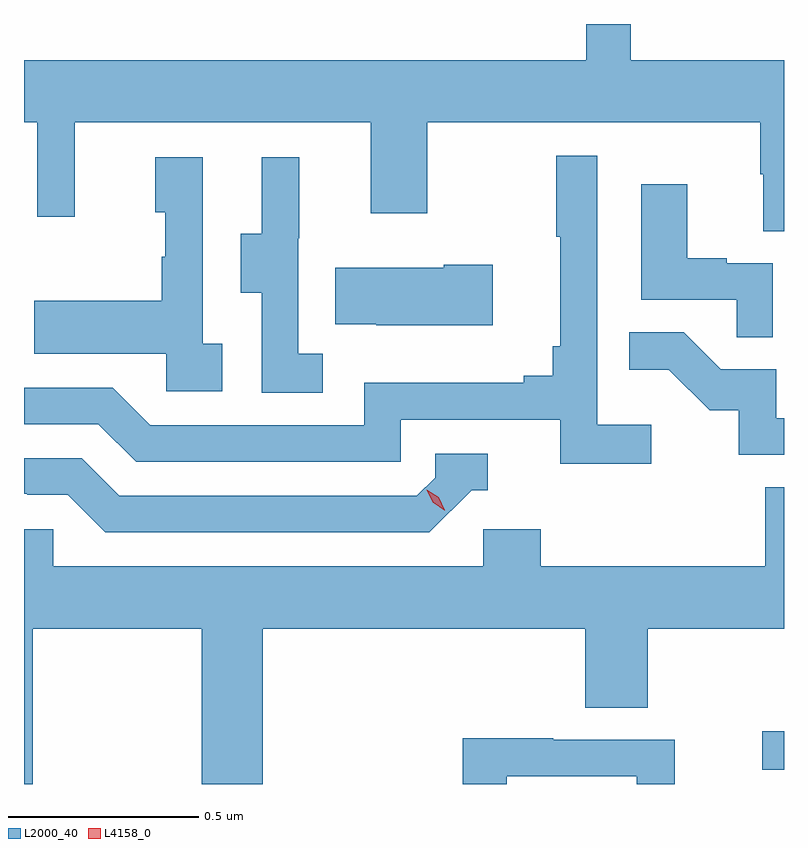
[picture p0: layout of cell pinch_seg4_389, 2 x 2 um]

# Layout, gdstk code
import gdstk
lib = gdstk.Library(unit=1e-6, precision=1e-09)
def R(c, l, rs):  # rectangles x0, y0, x1, y1
    for r in rs: c.add(gdstk.rectangle(r[:2], r[2:], *l))
def P(c, l, *ps):  # polygons
    for p in ps: c.add(gdstk.Polygon(p, *l))
L2000_40 = (2000, 40)
L4158_0 = (4158, 0)

pinch_seg4_389 = lib.new_cell('pinch_seg4_389')
R(pinch_seg4_389, L2000_40, [(1002.177,777.8,1002.234,777.902)])
P(pinch_seg4_389, L2000_40, [(1002.234,779.668),(1001.831,779.668),(1001.831,779.763),(1001.713,779.763),(1001.713,779.668),(1000.234,779.668),(1000.234,779.504),(1000.269,779.504),(1000.269,779.256),(1000.367,779.256),(1000.367,779.504),(1001.147,779.504),(1001.147,779.265),(1001.295,779.265),(1001.295,779.504),(1002.172,779.504),(1002.172,779.367),(1002.179,779.367),(1002.179,779.218),(1002.234,779.218)],
  [(1001.884,778.708),(1001.742,778.708),(1001.742,779.416),(1001.634,779.416),(1001.634,779.203),(1001.645,779.203),(1001.645,778.915),(1001.626,778.915),(1001.626,778.838),(1001.549,778.838),(1001.549,778.819),(1001.13,778.819),(1001.13,778.707),(1000.566,778.707),(1000.467,778.806),(1000.234,778.806),(1000.234,778.71),(1000.43,778.71),(1000.529,778.611),(1001.226,778.611),(1001.226,778.722),(1001.645,778.722),(1001.645,778.606),(1001.884,778.606)],
  [(1001.02,778.895),(1000.956,778.895),(1000.956,779.199),(1000.958,779.199),(1000.958,779.413),(1000.859,779.413),(1000.859,779.211),(1000.805,779.211),(1000.805,779.056),(1000.86,779.056),(1000.86,778.792),(1001.02,778.792)],
  [(1000.756,778.922),(1000.704,778.922),(1000.704,779.413),(1000.58,779.413),(1000.58,779.268),(1000.606,779.268),(1000.606,779.15),(1000.596,779.15),(1000.596,779.035),(1000.261,779.035),(1000.261,778.895),(1000.608,778.895),(1000.608,778.797),(1000.756,778.797)],
  [(1002.204,779.133),(1002.083,779.133),(1002.083,779.146),(1001.98,779.146),(1001.98,779.341),(1001.858,779.341),(1001.858,779.037),(1002.109,779.037),(1002.109,778.939),(1002.204,778.939)],
  [(1001.467,779.13),(1001.339,779.13),(1001.339,779.122),(1001.053,779.122),(1001.053,778.973),(1001.161,778.973),(1001.161,778.97),(1001.467,778.97)],
  [(1002.234,778.725),(1002.213,778.725),(1002.213,778.854),(1002.068,778.854),(1001.97,778.952),(1001.827,778.952),(1001.827,778.853),(1001.931,778.853),(1002.038,778.746),(1002.115,778.746),(1002.115,778.629),(1002.234,778.629)],
  [(1001.412,778.536),(1001.455,778.536),(1001.455,778.632),(1001.316,778.632),(1001.316,778.569),(1001.268,778.521),(1000.485,778.521),(1000.386,778.62),(1000.234,778.62),(1000.234,778.527),(1000.242,778.527),(1000.242,778.524),(1000.349,778.524),(1000.448,778.425),(1001.301,778.425)],
  [(1000.257,778.172),(1000.702,778.172),(1000.702,777.763),(1000.862,777.763),(1000.862,778.172),(1001.711,778.172),(1001.711,777.964),(1001.876,777.964),(1001.876,778.172),(1002.234,778.172),(1002.234,778.544),(1002.185,778.544),(1002.185,778.336),(1001.594,778.336),(1001.594,778.434),(1001.442,778.434),(1001.442,778.336),(1000.311,778.336),(1000.311,778.434),(1000.234,778.434),(1000.234,777.763),(1000.257,777.763)],
  [(1001.505,777.783),(1001.847,777.783),(1001.847,777.763),(1001.946,777.763),(1001.946,777.879),(1001.627,777.879),(1001.627,777.884),(1001.389,777.884),(1001.389,777.763),(1001.505,777.763)])
P(pinch_seg4_389, L4158_0, [(1001.34,778.484),(1001.31,778.504),(1001.294,778.537),(1001.294,778.537),(1001.294,778.537),(1001.325,778.517),(1001.341,778.484),(1001.341,778.484)])

lib.write_gds('pinch_seg4_389.gds')
